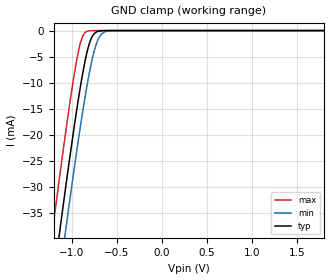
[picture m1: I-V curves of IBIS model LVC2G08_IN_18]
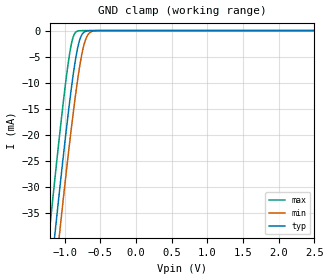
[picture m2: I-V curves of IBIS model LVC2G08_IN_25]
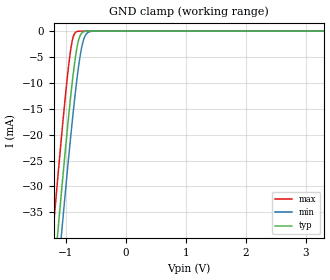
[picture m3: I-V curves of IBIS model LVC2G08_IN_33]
| TEXAS INSTRUMENTS INCORPORATED
| Standard Linear and Logic Group
| IBIS Model of SN74LVC2G08
| DUAL 2-INPUT POSITIVE-AND GATE
| This file contains package information for the following:
|  SSOP 8-pin (DCT) package as [Component] LVC2G08_DCT
|  VSSOP 8-pin (DCU) package as [Component] LVC2G08_DCU
|  NanoStar WCSP 8-pin (YEA) package as [Component] LVC2G08_YEA
|  NanoFree WCSP 8-pin (YZA) package as [Component] LVC2G08_YZA
|  NanoStar WCSP 8-pin (YEP) package as [Component] LVC2G08_YEP
|  NanoFree WCSP 8-pin (YZP) package as [Component] LVC2G08_YZP
| This device can be powered at the following Vccs:
|  1.8 volt Vcc
|  2.5 volt Vcc
|  3.3 volt Vcc
|  5 volt Vcc
| This file provides unique models under the [Model Selector] for each Vcc.
| For operation at a specific Vcc, select the appropriate model after each
| [Model Selector] keyword.
[IBIS Ver]   3.2
[Comment char]  |_char
[File Name]   sn74lvc2g08.ibs
[File Rev]   1.2 | d_die
[Date]   June 29, 2004
[Source]   Data created from TI-SPICE simulations at TI-SLL.
[Notes]   The following is an IBIS list for the LVC2G08.
   Please contact sllibis@ti.com with questions and
   comments concerning SLL IBIS models.
   - FILE REV HISTORY
   - 1.1 Release IBIS file on 09/11/02
   - 1.2 YEP and YZP packages released on 06/29/04
   - Due to the fact that the Device is 5.5-V Input tolarent,
   the pulldown model has some Non-Monotonic Warnings.
   - Power-clamp data has been deleted since there is no
   power-clamp diode in the device.
[Disclaimer] Property of Texas Instruments Incorporated.  Unauthorized
                reproduction and/or distribution is strictly prohibited.
                This product is protected under copyright law.
                Created  2002, (C) Copyright  2002, Texas Instruments
                Incorporated, All Rights Reserved
                UNLESS THERE IS A SIGNED, WRITTEN AGREEMENT TO THE
                CONTRARY, TEXAS INSTRUMENTS (TI) IS PROVIDING THE IBIS
                MODELS  AND WITHOUT ANY WARRANTY, EXPRESSED OR
                IMPLIED.  TI assumes no liability for:
                 1) the accuracy of the IBIS models provided to your
                    company;
                 2) the proper functioning of these IBIS Models in your
                    design or for any resulting applications; or
                 3) infringement of patents, copyrights or intellectual
                    property rights resulting from your use of these IBIS
                    models.
                TI provides IBIS Models as a service to our customers.
                You and your company shall not distribute, sell or give
                these models to anyone else without prior written
                permission from TI.
                TI reserves the right to make changes to our products or
                to discontinue any semiconductor product or service
                without notice, and advises our customers to obtain the
                latest version of relevant information to verify, before
                placing orders, that the information being relied on is
                current.
                Please be aware that your receipt and use of the IBIS
                information provided shall serve as acceptance of these
                terms and conditions.  If you do not accept these terms,
                you should return or destroy the IBIS models and any
                other accompanying information immediately.
| Component LVC2G08_DCT 8-pin TSSOP
[Component]   LVC2G08_DCT
[Manufacturer]   Texas Instruments, Inc.
[Package]
|   typ   min   max
R_pkg   2.900e-02   2.800e-02   3.100e-02
L_pkg   1.796e-09   1.666e-09   1.924e-09
C_pkg   1.090e-13   8.300e-14   1.360e-13
[Pin]   signal_name   model_name   R_pin   L_pin   C_pin
1   1A   LVC2G08_IN   3.100e-02   1.894e-09   1.340e-13
2   1B   LVC2G08_IN   2.800e-02   1.697e-09   8.600e-14
3   2Y   LVC2G08_OUT   3.000e-02   1.722e-09   8.600e-14
4   GND   GND   3.000e-02   1.861e-09   1.300e-13
5   2A   LVC2G08_IN   2.800e-02   1.924e-09   1.360e-13
6   2B   LVC2G08_IN   2.900e-02   1.736e-09   8.600e-14
7   1Y   LVC2G08_OUT   2.800e-02   1.666e-09   8.300e-14
8   VCC   POWER   3.000e-02   1.871e-09   1.320e-13
| Component LVC2G08_DCU 8-pin SOT
[Component]   LVC2G08_DCU
[Manufacturer]   Texas Instruments, Inc.
[Package]
|   typ   min   max
R_pkg   2.600e-02   2.300e-02   3.800e-02
L_pkg   1.394e-09   1.066e-09   2.046e-09
C_pkg   2.590e-13   2.150e-13   3.720e-13
[Pin]   signal_name   model_name   R_pin   L_pin   C_pin
1   1A   LVC2G08_IN   2.400e-02   1.520e-09   2.710e-13
2   1B   LVC2G08_IN   2.300e-02   1.112e-09   2.180e-13
3   2Y   LVC2G08_OUT   2.300e-02   1.070e-09   2.170e-13
4   GND   GND   2.700e-02   2.046e-09   3.720e-13
5   2A   LVC2G08_IN   2.700e-02   1.542e-09   2.730e-13
6   2B   LVC2G08_IN   2.300e-02   1.100e-09   2.240e-13
7   1Y   LVC2G08_OUT   2.300e-02   1.066e-09   2.150e-13
8   VCC   POWER   3.800e-02   1.696e-09   2.800e-13
| Component LVC2G08_YEA 8-pin NanoStar WCSP
[Component]   LVC2G08_YEA
[Manufacturer]   Texas Instruments, Inc.
[Package]
|   typ   min   max
R_pkg   0.001   0.001   0.001
L_pkg   0.021nH   0.021nH   0.021nH
C_pkg   0.043pF   0.042pF   0.044pF
[Pin]   signal_name   model_name   R_pin   L_pin   C_pin
1   1A   LVC2G08_IN   0.046   2.861nH   0.321pF
2   1B   LVC2G08_IN   0.037   2.437nH   0.286pF
3   2Y   LVC2G08_OUT   0.034   2.419nH   0.286pF
4   GND   GND   0.043   2.784nH   0.321pF
5   2A   LVC2G08_IN   0.043   2.784nH   0.321pF
6   2B   LVC2G08_IN   0.035   2.420nH   0.286pF
7   1Y   LVC2G08_OUT   0.037   2.437nH   0.286pF
8   VCC   POWER   0.046   2.860nH   0.321pF
| Component LVC2G08_YZA 8-pin NanoFree WCSP
[Component]   LVC2G08_YZA
[Manufacturer]   Texas Instruments, Inc.
[Package]
|   typ   min   max
R_pkg   0.001   0.001   0.001
L_pkg   0.021nH   0.021nH   0.021nH
C_pkg   0.043pF   0.042pF   0.044pF
[Pin]   signal_name   model_name   R_pin   L_pin   C_pin
1   1A   LVC2G08_IN   0.046   2.861nH   0.321pF
2   1B   LVC2G08_IN   0.037   2.437nH   0.286pF
3   2Y   LVC2G08_OUT   0.034   2.419nH   0.286pF
4   GND   GND   0.043   2.784nH   0.321pF
5   2A   LVC2G08_IN   0.043   2.784nH   0.321pF
6   2B   LVC2G08_IN   0.035   2.420nH   0.286pF
7   1Y   LVC2G08_OUT   0.037   2.437nH   0.286pF
8   VCC   POWER   0.046   2.860nH   0.321pF
| Component LVC2G08_YEP 8-pin NanoStar WCSP
[Component]   LVC2G08_YEP
[Manufacturer]   Texas Instruments, Inc.
[Package]
|   typ   min   max
R_pkg   0.001   0.001   0.001
L_pkg   0.021nH   0.021nH   0.021nH
C_pkg   0.043pF   0.042pF   0.044pF
[Pin]   signal_name   model_name   R_pin   L_pin   C_pin
1   1A   LVC2G08_IN   0.046   2.861nH   0.321pF
2   1B   LVC2G08_IN   0.037   2.437nH   0.286pF
3   2Y   LVC2G08_OUT   0.034   2.419nH   0.286pF
4   GND   GND   0.043   2.784nH   0.321pF
5   2A   LVC2G08_IN   0.043   2.784nH   0.321pF
6   2B   LVC2G08_IN   0.035   2.420nH   0.286pF
7   1Y   LVC2G08_OUT   0.037   2.437nH   0.286pF
8   VCC   POWER   0.046   2.860nH   0.321pF
| Component LVC2G08_YZP 8-pin NanoFree WCSP
[Component]   LVC2G08_YZP
[Manufacturer]   Texas Instruments, Inc.
[Package]
|   typ   min   max
R_pkg   0.001   0.001   0.001
L_pkg   0.021nH   0.021nH   0.021nH
C_pkg   0.043pF   0.042pF   0.044pF
[Pin]   signal_name   model_name   R_pin   L_pin   C_pin
1   1A   LVC2G08_IN   0.046   2.861nH   0.321pF
2   1B   LVC2G08_IN   0.037   2.437nH   0.286pF
3   2Y   LVC2G08_OUT   0.034   2.419nH   0.286pF
4   GND   GND   0.043   2.784nH   0.321pF
5   2A   LVC2G08_IN   0.043   2.784nH   0.321pF
6   2B   LVC2G08_IN   0.035   2.420nH   0.286pF
7   1Y   LVC2G08_OUT   0.037   2.437nH   0.286pF
8   VCC   POWER   0.046   2.860nH   0.321pF
| Model LVC2G08_IN
[Model Selector]   LVC2G08_IN
LVC2G08_IN_18   1.8 volt Vcc
LVC2G08_IN_25   2.5 volt Vcc
LVC2G08_IN_33   3.3 volt Vcc
LVC2G08_IN_50   5 volt Vcc
| Model LVC2G08_OUT
[Model Selector]   LVC2G08_OUT
LVC2G08_OUT_18   1.8 volt Vcc
LVC2G08_OUT_25   2.5 volt Vcc
LVC2G08_OUT_33   3.3 volt Vcc
LVC2G08_OUT_50   5 volt Vcc
| Models and submodels in the file (8): LVC2G08_IN_18 (Input), LVC2G08_IN_25 (Input), LVC2G08_IN_33 (Input), LVC2G08_IN_50 (Input), LVC2G08_OUT_18 (Output), LVC2G08_OUT_25 (Output), LVC2G08_OUT_33 (Output), LVC2G08_OUT_50 (Output)
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[Model]   LVC2G08_IN_18
Model_type  Input
Vinl=0.5775
Vinh=1.2675
| variable   typ   min   max
C_comp   3.50pF   3.04pF   4.29pF
[Temperature Range]   40   100   -40
| Ambient temperature   25   85   -40
[Voltage range]   1.8   1.65   1.95
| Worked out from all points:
|   GND clamp passes 1 mA (typ) near -0.77 V on its own axis
[GND Clamp]
| LVC2G08_IN_18
|   Voltage   I(typ)   I(min)   I(max)
-5.5V     -655.2mA   -662.2mA   -646.6mA
-1.215V   -49.6mA    -57.88mA   -38.96mA
-1.135V   -39.07mA   -47.36mA   -28.42mA
-1.075V   -31.35mA   -39.6mA    -20.75mA
-1.055V   -28.82mA   -37.05mA   -18.27mA
-955mV    -16.68mA   -24.66mA   -6.874mA
-885mV    -9.098mA   -16.55mA   -1.486mA
-825mV    -3.922mA   -10.26mA   -137.1uA
-780mV    -1.472mA   -6.227mA   -17.15uA
-715mV    -205.4uA   -2.128mA   -808.5nA
-650mV    -22.01uA   -443.9uA   -37.93nA
1.8V      3.326pA    6.142pA    3.026pA
[Model]   LVC2G08_IN_25
Model_type  Input
Vinl=0.7
Vinh=1.7
| variable   typ   min   max
C_comp   3.42pF   2.83pF   4.37pF
[Temperature Range]   40   100   -40
| Ambient temperature   25   85   -40
[Voltage range]   2.5   2.3   2.7
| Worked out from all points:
|   GND clamp passes 1 mA (typ) near -0.77 V on its own axis
[GND Clamp]
| LVC2G08_IN_25
|   Voltage   I(typ)   I(min)   I(max)
-5.5V     -655.2mA   -662.2mA   -646.6mA
-1.215V   -49.6mA    -57.88mA   -38.96mA
-1.14V    -39.72mA   -48.01mA   -29.07mA
-1.12V    -37.12mA   -45.41mA   -26.48mA
-1.08V    -31.98mA   -40.25mA   -21.38mA
-1.06V    -29.44mA   -37.69mA   -18.89mA
-960mV    -17.26mA   -25.26mA   -7.377mA
-890mV    -9.597mA   -17.1mA    -1.734mA
-785mV    -1.671mA   -6.635mA   -21.67uA
-720mV    -242.5uA   -2.354mA   -1.023uA
-650mV    -22.01uA   -443.9uA   -37.93nA
2.5V      4.713pA    7.577pA    4.389pA
[Model]   LVC2G08_IN_33
Model_type  Input
Vinl=0.8
Vinh=2.0
| variable   typ   min   max
C_comp   3.35pF   2.67pF   4.40pF
[Temperature Range]   40   100   -40
| Ambient temperature   25   85   -40
[Voltage range]   3.3   3   3.6
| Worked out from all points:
|   GND clamp passes 1 mA (typ) near -0.77 V on its own axis
[GND Clamp]
| LVC2G08_IN_33
|   Voltage   I(typ)   I(min)   I(max)
-5.5V     -655.2mA   -662.2mA   -646.6mA
-1.225V   -50.93mA   -59.21mA   -40.3mA
-1.145V   -40.37mA   -48.66mA   -29.72mA
-1.12V    -37.12mA   -45.41mA   -26.48mA
-1.08V    -31.98mA   -40.25mA   -21.38mA
-1.06V    -29.44mA   -37.69mA   -18.89mA
-965mV    -17.84mA   -25.87mA   -7.89mA
-885mV    -9.098mA   -16.55mA   -1.486mA
-780mV    -1.472mA   -6.227mA   -17.15uA
-715mV    -205.4uA   -2.128mA   -808.5nA
-640mV    -15.53uA   -338.1uA   -23.69nA
3.3V      6.304pA    9.258pA    5.93pA
